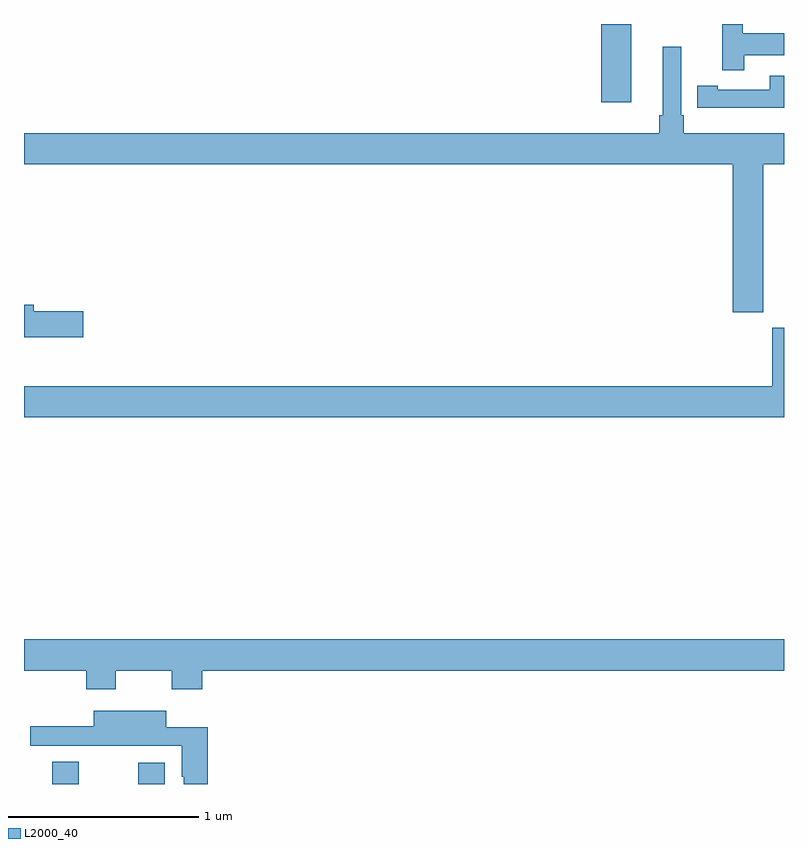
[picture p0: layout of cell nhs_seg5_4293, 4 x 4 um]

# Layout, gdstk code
import gdstk
lib = gdstk.Library(unit=1e-6, precision=1e-09)
def R(c, l, rs):  # rectangles x0, y0, x1, y1
    for r in rs: c.add(gdstk.rectangle(r[:2], r[2:], *l))
def P(c, l, *ps):  # polygons
    for p in ps: c.add(gdstk.Polygon(p, *l))
L2000_40 = (2000, 40)

nhs_seg5_4293 = lib.new_cell('nhs_seg5_4293')
R(nhs_seg5_4293, L2000_40, [(363.149,886.799,363.289,886.916), (363.601,886.799,363.742,886.912), (366.038,890.388,366.196,890.799)])
P(nhs_seg5_4293, L2000_40, [(366.791,890.634),(367,890.634),(367,890.75),(366.784,890.75),(366.784,890.799),(366.674,890.799),(366.674,890.556),(366.791,890.556)],
  [(366.891,890.06),(367,890.06),(367,890.224),(366.473,890.224),(366.473,890.32),(366.459,890.32),(366.459,890.68),(366.362,890.68),(366.362,890.32),(366.343,890.32),(366.343,890.224),(363,890.224),(363,890.06),(366.731,890.06),(366.731,889.281),(366.891,889.281)],
  [(367,890.526),(366.924,890.526),(366.924,890.454),(366.652,890.454),(366.652,890.474),(366.544,890.474),(366.544,890.358),(366.652,890.358),(366.652,890.357),(367,890.357)],
  [(363.313,889.286),(363.052,889.286),(363.052,889.322),(363,889.322),(363,889.151),(363.313,889.151)],
  [(367,889.201),(366.938,889.201),(366.938,888.892),(363,888.892),(363,888.728),(367,888.728)],
  [(363.483,887.396),(363.778,887.396),(363.778,887.297),(363.938,887.297),(363.938,887.396),(367,887.396),(367,887.56),(363,887.56),(363,887.396),(363.328,887.396),(363.328,887.297),(363.483,887.297)],
  [(363.968,887.099),(363.748,887.099),(363.748,887.185),(363.368,887.185),(363.368,887.102),(363.033,887.102),(363.033,887.001),(363.472,887.001),(363.472,887),(363.83,887),(363.83,886.836),(363.842,886.836),(363.842,886.799),(363.968,886.799)])

lib.write_gds('nhs_seg5_4293.gds')
